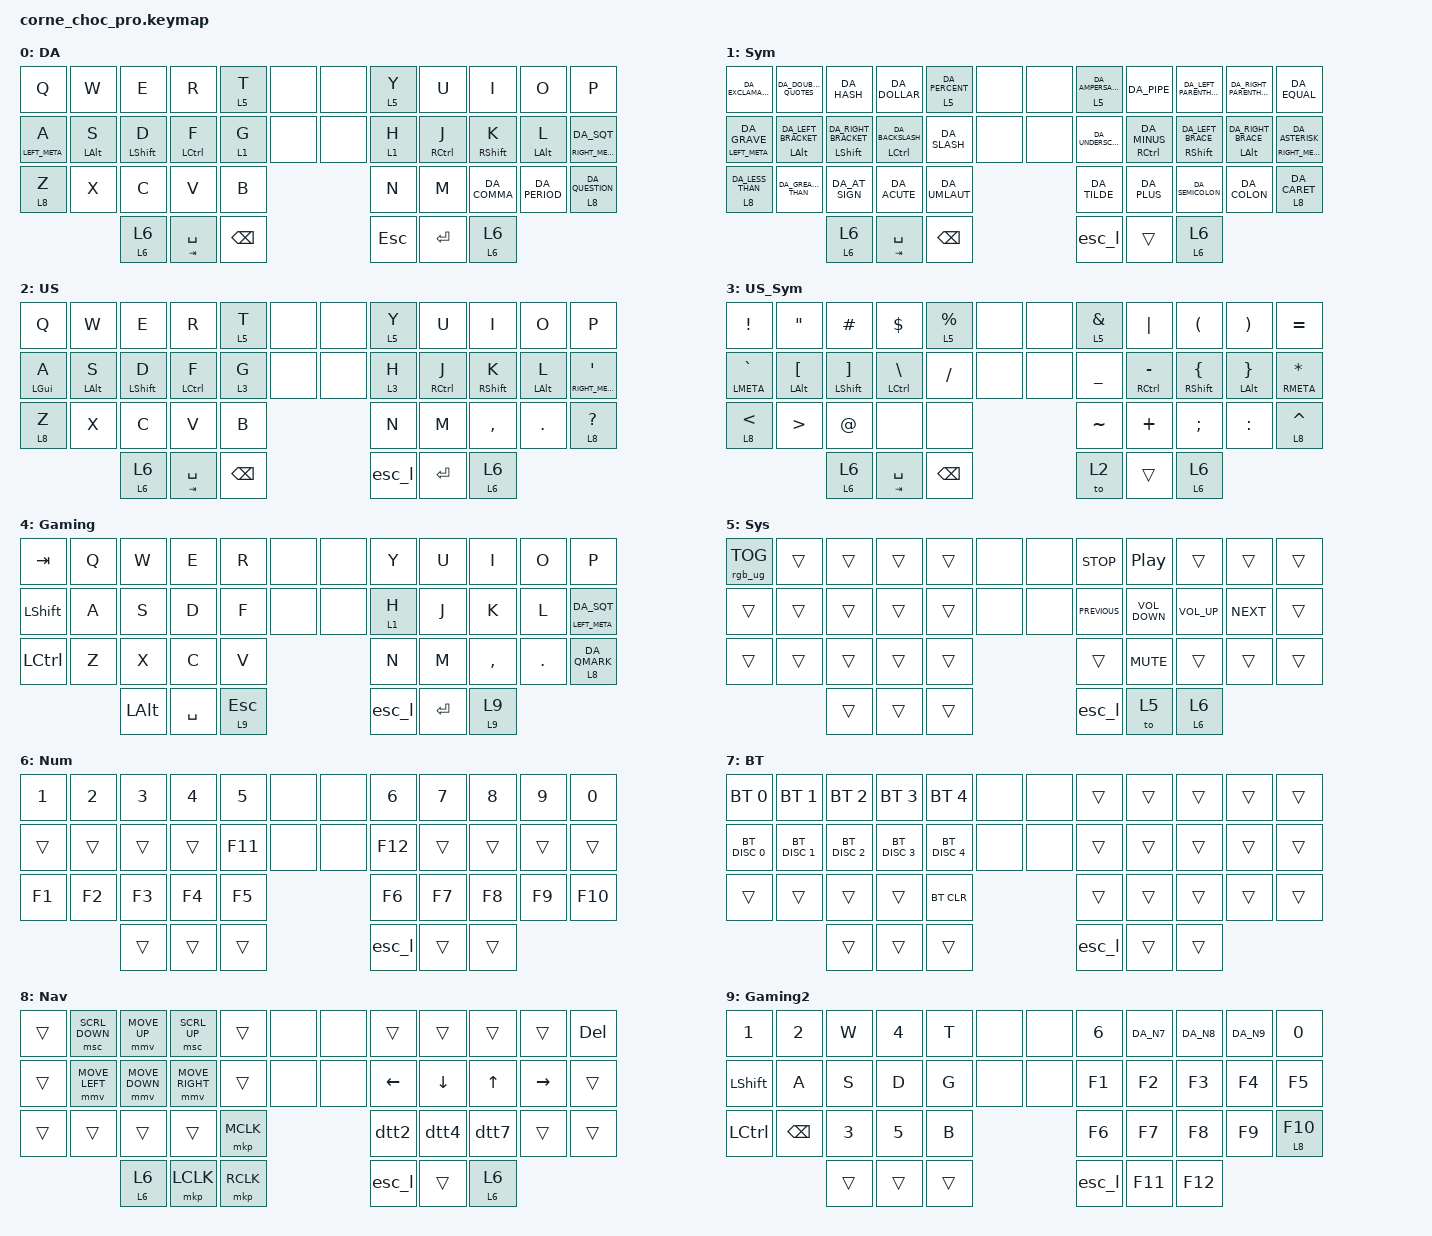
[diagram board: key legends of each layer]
/*
 * Copyright (c) 2020 The ZMK Contributors
 *
 * SPDX-License-Identifier: MIT
 */

#define ZMK_POINTING_DEFAULT_MOVE_VAL 1500

#include <behaviors.dtsi>
#include <dt-bindings/zmk/bt.h>
#include <dt-bindings/zmk/keys.h>
#include <dt-bindings/zmk/pointing.h>
#include <dt-bindings/zmk/rgb.h>
#include "keys_da.h"

&lt {
    tapping-term-ms = <175>;
    flavor = "tap-preferred";
    quick-tap-ms = <150>;
};

&mt {
    flavor = "tap-preferred";
    tapping-term-ms = <175>;
    quick-tap-ms = <150>;
};

/ {
    chosen { zmk,physical-layout = &five_col_layout; };
};

/ {
    combos {
        compatible = "zmk,combos";

        combo_eo {
            bindings = <&kp DA_O_SLASH>;
            key-positions = <10 2>;
            layers = <0>;
        };

        combo_ao {
            bindings = <&kp DA_A_RING>;
            key-positions = <10 12>;
            layers = <0>;
        };

        combo_ae {
            bindings = <&kp DA_AE>;
            key-positions = <2 12>;
            layers = <0>;
        };
    };

    behaviors {
        osl: osl {
            compatible = "zmk,behavior-hold-tap";
            label = "OSL";
            bindings = <&mo>, <&sl>;

            #binding-cells = <2>;
            flavor = "tap-preferred";
            tapping-term-ms = <175>;
        };

        esc_l: esc_l {
            compatible = "zmk,behavior-tap-dance";
            label = "ESC_L";
            #binding-cells = <0>;
            bindings = <&kp ESC>, <&to 0>;

            tapping-term-ms = <200>;
        };

        dtt6: dtt6 {
            compatible = "zmk,behavior-tap-dance";
            label = "DTT6";
            #binding-cells = <0>;
            bindings = <&none>, <&to 6>;

            tapping-term-ms = <200>;
        };

        dtt2: dtt2 {
            compatible = "zmk,behavior-tap-dance";
            label = "DTT2";
            #binding-cells = <0>;
            bindings = <&none>, <&to 2>;

            tapping-term-ms = <200>;
        };

        dtt4: dtt4 {
            compatible = "zmk,behavior-tap-dance";
            label = "DTT4";
            #binding-cells = <0>;
            bindings = <&none>, <&to 4>;

            tapping-term-ms = <200>;
        };

        dtt7: dtt7 {
            compatible = "zmk,behavior-tap-dance";
            label = "DTT7";
            #binding-cells = <0>;
            bindings = <&none>, <&to 7>;

            tapping-term-ms = <200>;
        };
    };

    keymap {
        compatible = "zmk,keymap";

        DK {
            bindings = <
  &kp Q            &kp W           &kp E             &kp R          &lt 5 T   &none  &none  &lt 5 Y  &kp U        &kp I              &kp O           &kp P
  &mt LEFT_META A  &mt LEFT_ALT S  &mt LEFT_SHIFT D  &mt LCTRL F    &lt 1 G   &none  &none  &lt 1 H  &mt RCTRL J  &mt RIGHT_SHIFT K  &mt LEFT_ALT L  &mt RIGHT_META DA_SQT
  &lt 8 Z          &kp X           &kp C             &kp V          &kp B                   &kp N    &kp M        &kp DA_COMMA       &kp DA_PERIOD   &lt 8 DA_QUESTION
                                   &osl 6 6          &mt TAB SPACE  &kp BSPC                &kp ESC  &kp RET      &osl 6 6
            >;

            label = "DA";
        };

        DA_Sym {
            bindings = <
  &kp DA_EXCLAMATION      &kp DA_DOUBLE_QUOTES          &kp DA_HASH                      &kp DA_DOLLAR           &lt 5 DA_PERCENT  &none  &none  &lt 5 DA_AMPERSAND  &kp DA_PIPE         &kp DA_LEFT_PARENTHESIS   &kp DA_RIGHT_PARENTHESIS     &kp DA_EQUAL
  &mt LEFT_META DA_GRAVE  &mt LEFT_ALT DA_LEFT_BRACKET  &mt LEFT_SHIFT DA_RIGHT_BRACKET  &mt LCTRL DA_BACKSLASH  &kp DA_SLASH      &none  &none  &kp DA_UNDERSCORE   &mt RCTRL DA_MINUS  &mt RSHIFT DA_LEFT_BRACE  &mt LEFT_ALT DA_RIGHT_BRACE  &mt RIGHT_META DA_ASTERISK
  &lt 8 DA_LESS_THAN      &kp DA_GREATER_THAN           &kp DA_AT_SIGN                   &kp DA_ACUTE            &kp DA_UMLAUT                   &kp DA_TILDE        &kp DA_PLUS         &kp DA_SEMICOLON          &kp DA_COLON                 &lt 8 DA_CARET
                                                        &osl 6 6                         &mt TAB SPACE           &kp BSPC                        &esc_l              &trans              &osl 6 6
            >;

            label = "Sym";
        };

        US {
            bindings = <
  &kp Q       &kp W           &kp E         &kp R          &lt 5 T   &none  &none  &lt 5 Y  &kp U        &kp I         &kp O           &kp P
  &mt LGUI A  &mt LEFT_ALT S  &mt LSHIFT D  &mt LCTRL F    &lt 3 G   &none  &none  &lt 3 H  &mt RCTRL J  &mt RSHIFT K  &mt LEFT_ALT L  &mt RIGHT_META SQT
  &lt 8 Z     &kp X           &kp C         &kp V          &kp B                   &kp N    &kp M        &kp COMMA     &kp DOT         &lt 8 QUESTION
                              &osl 6 6      &mt TAB SPACE  &kp BSPC                &esc_l   &kp RET      &osl 6 6
            >;

            label = "US";
        };

        US_Sym {
            bindings = <
  &kp EXCLAMATION  &kp DOUBLE_QUOTES  &kp POUND        &kp DLLR        &lt 5 PERCENT  &none  &none  &lt 5 AMPERSAND  &kp PIPE         &kp LEFT_PARENTHESIS   &kp RIGHT_PARENTHESIS     &kp EQUAL
  &mt LMETA GRAVE  &mt LEFT_ALT LBKT  &mt LSHIFT RBKT  &mt LCTRL BSLH  &kp SLASH      &none  &none  &kp UNDERSCORE   &mt RCTRL MINUS  &mt RSHIFT LEFT_BRACE  &mt LEFT_ALT RIGHT_BRACE  &mt RMETA ASTERISK
  &lt 8 LESS_THAN  &kp GREATER_THAN   &kp AT           &none           &none                        &kp TILDE        &kp PLUS         &kp SEMICOLON          &kp COLON                 &lt 8 CARET
                                      &osl 6 6         &mt TAB SPACE   &kp BACKSPACE                &to 2            &trans           &osl 6 6
            >;

            label = "US_Sym";
        };

        Gaming {
            bindings = <
  &kp TAB     &kp Q  &kp W     &kp E      &kp R      &none  &none  &kp Y    &kp U    &kp I      &kp O    &kp P
  &kp LSHIFT  &kp A  &kp S     &kp D      &kp F      &none  &none  &lt 1 H  &kp J    &kp K      &kp L    &mt LEFT_META DA_SQT
  &kp LCTRL   &kp Z  &kp X     &kp C      &kp V                    &kp N    &kp M    &kp COMMA  &kp DOT  &lt 8 DA_QMARK
                     &kp LALT  &kp SPACE  &lt 9 ESC                &esc_l   &kp RET  &osl 9 9
            >;

            label = "Gaming";
        };

        Sys {
            bindings = <
  &rgb_ug RGB_TOG  &trans  &trans  &trans  &trans  &none  &none  &kp C_STOP      &kp C_PLAY_PAUSE   &trans           &trans      &trans
  &trans           &trans  &trans  &trans  &trans  &none  &none  &kp C_PREVIOUS  &kp C_VOLUME_DOWN  &kp C_VOLUME_UP  &kp C_NEXT  &trans
  &trans           &trans  &trans  &trans  &trans                &trans          &kp K_MUTE         &trans           &trans      &trans
                           &trans  &trans  &trans                &esc_l          &to 5              &osl 6 6
            >;

            label = "Sys";
        };

        Num {
            bindings = <
  &kp N1  &kp N2  &kp N3  &kp N4  &kp N5   &none  &none  &kp N6   &kp N7  &kp N8  &kp N9  &kp N0
  &trans  &trans  &trans  &trans  &kp F11  &none  &none  &kp F12  &trans  &trans  &trans  &trans
  &kp F1  &kp F2  &kp F3  &kp F4  &kp F5                 &kp F6   &kp F7  &kp F8  &kp F9  &kp F10
                  &trans  &trans  &trans                 &esc_l   &trans  &trans
            >;

            label = "Num";
        };

        BT {
            bindings = <
  &bt BT_SEL 0   &bt BT_SEL 1   &bt BT_SEL 2   &bt BT_SEL 3   &bt BT_SEL 4   &none  &none  &trans  &trans  &trans  &trans  &trans
  &bt BT_DISC 0  &bt BT_DISC 1  &bt BT_DISC 2  &bt BT_DISC 3  &bt BT_DISC 4  &none  &none  &trans  &trans  &trans  &trans  &trans
  &trans         &trans         &trans         &trans         &bt BT_CLR                   &trans  &trans  &trans  &trans  &trans
                                &trans         &trans         &trans                       &esc_l  &trans  &trans
            >;

            label = "BT";
        };

        Nav {
            bindings = <
  &trans  &msc SCRL_DOWN  &mmv MOVE_UP    &msc SCRL_UP     &trans     &none  &none  &trans          &trans          &trans        &trans           &kp DELETE
  &trans  &mmv MOVE_LEFT  &mmv MOVE_DOWN  &mmv MOVE_RIGHT  &trans     &none  &none  &kp LEFT_ARROW  &kp DOWN_ARROW  &kp UP_ARROW  &kp RIGHT_ARROW  &trans
  &trans  &trans          &trans          &trans           &mkp MCLK                &dtt2           &dtt4           &dtt7         &trans           &trans
                          &osl 6 6        &mkp LCLK        &mkp RCLK                &esc_l          &trans          &osl 6 6
            >;

            label = "Nav";
        };

        Gaming2 {
            label = "Gaming2";
            bindings = <
  &kp N1      &kp N2         &kp W   &kp N4  &kp T   &none  &none  &kp N6  &kp DA_N7  &kp DA_N8  &kp DA_N9  &kp N0
  &kp LSHIFT  &kp A          &kp S   &kp D   &kp G   &none  &none  &kp F1  &kp F2     &kp F3     &kp F4     &kp F5
  &kp LCTRL   &kp BACKSPACE  &kp N3  &kp N5  &kp B                 &kp F6  &kp F7     &kp F8     &kp F9     &lt 8 F10
                             &trans  &trans  &trans                &esc_l  &kp F11    &kp F12
            >;
        };
    };
};
